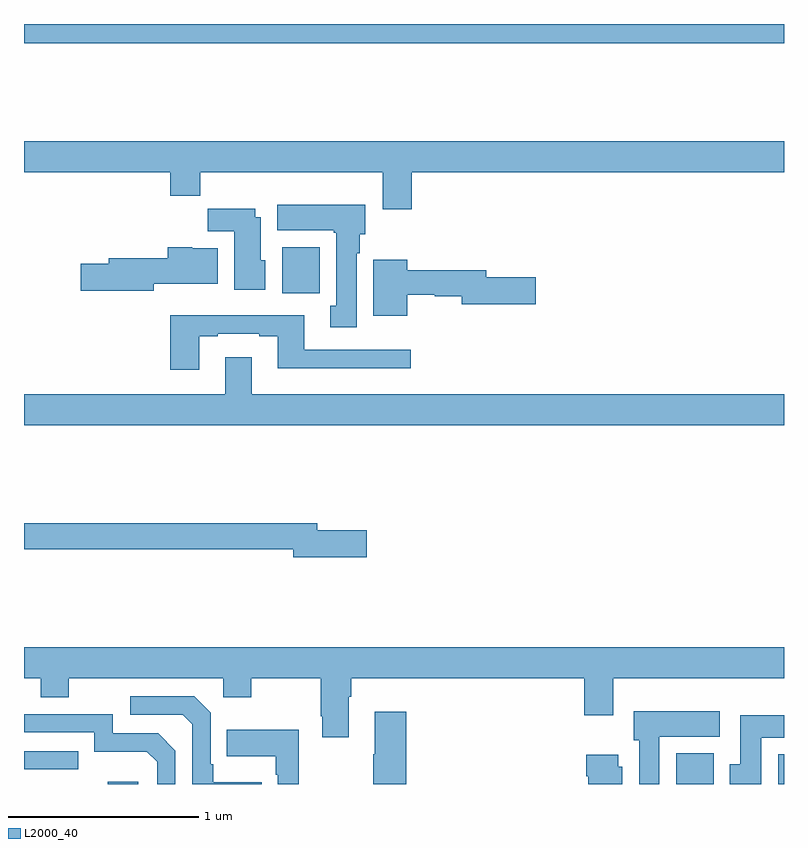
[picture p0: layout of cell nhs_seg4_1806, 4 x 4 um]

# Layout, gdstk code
import gdstk
lib = gdstk.Library(unit=1e-6, precision=1e-09)
def R(c, l, rs):  # rectangles x0, y0, x1, y1
    for r in rs: c.add(gdstk.rectangle(r[:2], r[2:], *l))
def P(c, l, *ps):  # polygons
    for p in ps: c.add(gdstk.Polygon(p, *l))
L2000_40 = (2000, 40)

nhs_seg4_1806 = lib.new_cell('nhs_seg4_1806')
R(nhs_seg4_1806, L2000_40, [(203.441,826.9,203.602,826.912), (206.432,826.9,206.629,827.062), (206.969,826.9,207,827.056), (203,826.977,203.285,827.073), (204.359,829.484,204.556,829.726), (203,830.8,207,830.9)])
P(nhs_seg4_1806, L2000_40, [(205.04,830.12),(207,830.12),(207,830.284),(203,830.284),(203,830.12),(203.771,830.12),(203.771,829.996),(203.927,829.996),(203.927,830.12),(204.887,830.12),(204.887,829.926),(205.04,829.926)],
  [(204.751,829.694),(204.766,829.694),(204.766,829.794),(204.796,829.794),(204.796,829.948),(204.332,829.948),(204.332,829.814),(204.631,829.814),(204.631,829.801),(204.644,829.801),(204.644,829.418),(204.611,829.418),(204.611,829.305),(204.751,829.305)],
  [(204.271,829.656),(204.247,829.656),(204.247,829.882),(204.217,829.882),(204.217,829.927),(203.968,829.927),(203.968,829.808),(204.107,829.808),(204.107,829.502),(204.271,829.502)],
  [(203.682,829.532),(204.019,829.532),(204.019,829.72),(203.886,829.72),(203.886,829.726),(203.756,829.726),(203.756,829.668),(203.447,829.668),(203.447,829.638),(203.298,829.638),(203.298,829.496),(203.682,829.496)],
  [(205.018,829.476),(205.161,829.476),(205.161,829.468),(205.304,829.468),(205.304,829.426),(205.693,829.426),(205.693,829.568),(205.432,829.568),(205.432,829.604),(205.018,829.604),(205.018,829.66),(204.839,829.66),(204.839,829.364),(205.018,829.364)],
  [(203.923,829.257),(204.019,829.257),(204.019,829.269),(204.239,829.269),(204.239,829.257),(204.335,829.257),(204.335,829.088),(205.036,829.088),(205.036,829.185),(204.475,829.185),(204.475,829.366),(203.771,829.366),(203.771,829.08),(203.923,829.08)],
  [(207,828.952),(204.199,828.952),(204.199,829.147),(204.059,829.147),(204.059,828.952),(203,828.952),(203,828.788),(207,828.788)],
  [(204.805,828.236),(204.544,828.236),(204.544,828.272),(203,828.272),(203,828.136),(204.416,828.136),(204.416,828.094),(204.805,828.094)],
  [(204.709,827.36),(204.722,827.36),(204.722,827.456),(205.949,827.456),(205.949,827.262),(206.101,827.262),(206.101,827.456),(207,827.456),(207,827.62),(203,827.62),(203,827.456),(203.087,827.456),(203.087,827.357),(203.235,827.357),(203.235,827.456),(204.048,827.456),(204.048,827.357),(204.195,827.357),(204.195,827.456),(204.562,827.456),(204.562,827.257),(204.569,827.257),(204.569,827.145),(204.709,827.145)],
  [(204.251,826.909),(203.995,826.909),(203.995,827.005),(203.982,827.005),(203.982,827.274),(203.895,827.361),(203.559,827.361),(203.559,827.265),(203.835,827.265),(203.886,827.214),(203.886,826.9),(204.251,826.9)],
  [(206.344,827.15),(206.662,827.15),(206.662,827.284),(206.21,827.284),(206.21,827.13),(206.237,827.13),(206.237,826.9),(206.344,826.9)],
  [(205.013,827.281),(204.845,827.281),(204.845,827.057),(204.838,827.057),(204.838,826.9),(205.013,826.9)],
  [(203.796,827.076),(203.706,827.166),(203.466,827.166),(203.466,827.268),(203,827.268),(203,827.172),(203.37,827.172),(203.37,827.069),(203.647,827.069),(203.7,827.016),(203.7,826.9),(203.796,826.9)],
  [(206.881,827.144),(207,827.144),(207,827.263),(206.771,827.263),(206.771,827.004),(206.714,827.004),(206.714,826.9),(206.881,826.9)],
  [(204.445,827.185),(204.067,827.185),(204.067,827.045),(204.324,827.045),(204.324,826.949),(204.336,826.949),(204.336,826.9),(204.445,826.9)],
  [(206.149,826.992),(206.128,826.992),(206.128,827.053),(205.958,827.053),(205.958,826.94),(205.97,826.94),(205.97,826.9),(206.149,826.9)])

lib.write_gds('nhs_seg4_1806.gds')
